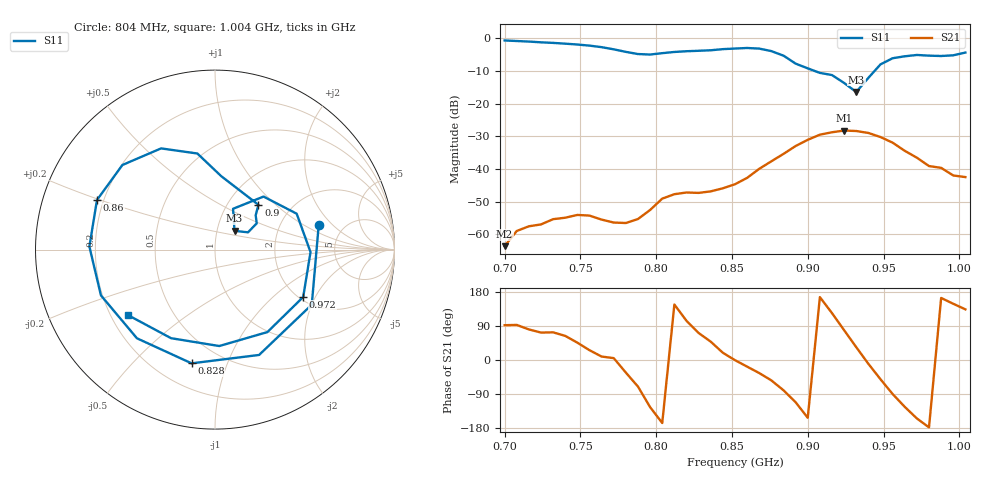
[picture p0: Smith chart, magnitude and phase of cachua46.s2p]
# Hz S RI R 50
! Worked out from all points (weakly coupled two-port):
!   39 points, 700 MHz to 1.004 GHz, reference 50 ohm
!   highest |S21| = -28.24 dB at 924 MHz (marker M1); lowest = -63.7 dB at 700 MHz (marker M2)
!   lowest |S11| = -16.4 dB at 932 MHz (marker M3), VSWR 1.36, Z = 60.7 + j13 ohm
!   |S11| at or under -10 dB: 904.7 MHz to 944 MHz (39.29 MHz wide, 4.25 % of centre)
!   S12 and S22 are empty: the file has one direction only
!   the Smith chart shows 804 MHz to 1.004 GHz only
!   S11 on the Smith chart (normalised r, x): 804 MHz: 3.28, +1.41; 828 MHz: 0.35, -0.75; 860 MHz: 0.17, +0.20; 900 MHz: 1.38, +0.78; 972 MHz: 2.10, -1.61; 1.004 GHz: 0.27, -0.31
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7e8  0.7635 0.5325  -2.12e-05 0.000653  0 0  0 0
7.24e8  0.8307 -0.2647  0.000427 0.00134  0 0  0 0
7.4e8  0.4422 -0.7038  0.000793 0.0016  0 0  0 0
7.56e8  -0.1986 -0.7502  0.00173 0.00084  0 0  0 0
7.72e8  -0.6546 -0.1868  0.0015 0.000129  0 0  0 0
7.8e8  -0.5768 0.2333  0.00124 -0.000812  0 0  0 0
7.88e8  -0.22 0.5325  0.000576 -0.0016  0 0  0 0
7.96e8  0.2621 0.5017  -0.00133 -0.00194  0 0  0 0
8.04e8  0.5781 0.1388  -0.0034 -0.000829  0 0  0 0
8.2e8  0.2456 -0.587  -0.00101 0.00423  0 0  0 0
8.28e8  -0.1306 -0.6336  0.00138 0.00406  0 0  0 0
8.52e8  -0.6999 0.0171  0.00582 -4.57e-05  0 0  0 0
8.6e8  -0.6575 0.2766  0.00695 -0.0022  0 0  0 0
8.76e8  -0.3005 0.5638  0.00771 -0.0106  0 0  0 0
9e8  0.2419 0.2496  -0.0248 -0.0129  0 0  0 0
9.08e8  0.2267 0.1909  -0.0325 0.00811  0 0  0 0
9.24e8  0.1838 0.0962  0.00766 0.038  0 0  0 0
9.32e8  0.1088 0.1047  0.0316 0.0212  0 0  0 0
9.56e8  0.455 0.2001  9.08e-05 -0.0252  0 0  0 0
9.72e8  0.4914 -0.2641  -0.0134 -0.00644  0 0  0 0
9.88e8  0.0237 -0.5373  -0.00997 0.00291  0 0  0 0
1.004e9  -0.4863 -0.3642  -0.00517 0.00542  0 0  0 0
